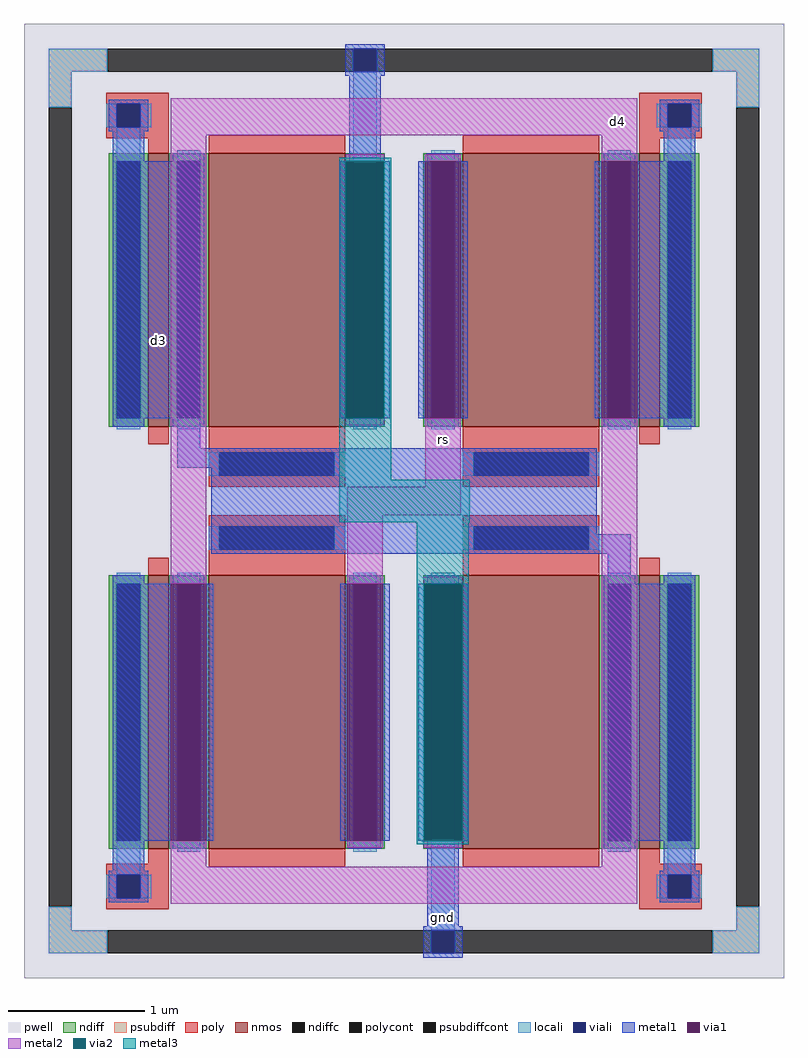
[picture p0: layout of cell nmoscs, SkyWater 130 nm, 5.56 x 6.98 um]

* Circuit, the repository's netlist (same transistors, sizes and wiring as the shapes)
** sch_path: /home/jevon/opamp/mag/nmoscs.sch
.subckt nmoscs D3 D4 RS GND
*.PININFO D3:B D4:B RS:B GND:B
XM4 D4 D3 RS GND sky130_fd_pr__nfet_01v8 L=1 W=2 nf=1 m=2
XM3 D3 D3 GND GND sky130_fd_pr__nfet_01v8 L=1 W=2 nf=1 m=2
XM1 D3 D3 D3 GND sky130_fd_pr__nfet_01v8 L=0.15 W=2 nf=1 m=2
XM2 D4 D4 D4 GND sky130_fd_pr__nfet_01v8 L=0.15 W=2 nf=1 m=2
.ends
.end

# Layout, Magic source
magic
tech sky130A
magscale 1 2
<< pwell >>
rect -212 -719 900 677
<< psubdiff >>
rect -176 607 -90 641
rect 796 607 864 641
rect -176 555 -142 607
rect 830 555 864 607
rect -176 -649 -142 -615
rect 830 -649 864 -615
rect -176 -683 -90 -649
rect 796 -683 864 -649
<< psubdiffcont >>
rect -90 607 796 641
rect -176 -615 -142 555
rect 830 -615 864 555
rect -90 -683 796 -649
<< poly >>
rect -92 560 0 576
rect -92 526 -76 560
rect -42 526 0 560
rect -92 510 0 526
rect -30 488 0 510
rect 688 560 780 576
rect 688 526 730 560
rect 764 526 780 560
rect 688 510 780 526
rect 688 488 718 510
rect -30 -552 0 -530
rect -92 -568 0 -552
rect -92 -602 -76 -568
rect -42 -602 0 -568
rect -92 -618 0 -602
rect 688 -568 780 -552
rect 688 -602 730 -568
rect 764 -602 780 -568
rect 688 -618 780 -602
<< polycont >>
rect -76 526 -42 560
rect 730 526 764 560
rect -76 -602 -42 -568
rect 730 -602 764 -568
<< locali >>
rect -176 607 -90 641
rect 796 607 864 641
rect -176 555 -142 607
rect -92 526 -76 560
rect -42 526 -26 560
rect -76 488 -42 526
rect 270 487 304 607
rect 714 526 730 560
rect 764 526 780 560
rect 830 555 864 607
rect 730 488 764 526
rect -76 -568 -42 -530
rect -92 -602 -76 -568
rect -42 -602 -26 -568
rect -176 -649 -142 -615
rect 384 -649 418 -530
rect 730 -568 764 -533
rect 714 -602 730 -568
rect 764 -602 780 -568
rect 830 -649 864 -615
rect -176 -683 -90 -649
rect 796 -683 864 -649
<< viali >>
rect 270 607 304 641
rect -76 526 -42 560
rect 730 526 764 560
rect -76 -602 -42 -568
rect 730 -602 764 -568
rect 384 -683 418 -649
<< metal1 >>
rect 258 641 316 647
rect 258 607 270 641
rect 304 607 316 641
rect 258 601 316 607
rect -88 560 -30 566
rect -88 526 -76 560
rect -42 526 -30 560
rect -88 520 -30 526
rect -82 488 -36 520
rect 264 482 310 601
rect 718 560 776 566
rect 718 526 730 560
rect 764 526 776 560
rect 718 520 776 526
rect 724 488 770 520
rect -76 100 46 476
rect 251 100 261 476
rect 313 100 323 476
rect 365 100 375 476
rect 427 100 437 476
rect 623 100 633 476
rect 685 100 764 476
rect 12 56 46 88
rect 12 28 626 56
rect 62 -70 626 28
rect 62 -98 676 -70
rect 642 -130 676 -98
rect -76 -518 3 -142
rect 55 -518 65 -142
rect 251 -518 261 -142
rect 313 -518 323 -142
rect 365 -518 375 -142
rect 427 -518 437 -142
rect 642 -518 764 -142
rect -82 -562 -36 -530
rect -88 -568 -30 -562
rect -88 -602 -76 -568
rect -42 -602 -30 -568
rect -88 -608 -30 -602
rect 378 -643 424 -525
rect 724 -562 770 -527
rect 718 -568 776 -562
rect 718 -602 730 -568
rect 764 -602 776 -568
rect 718 -608 776 -602
rect 372 -649 430 -643
rect 372 -683 384 -649
rect 418 -683 430 -649
rect 372 -689 430 -683
<< via1 >>
rect 261 100 313 476
rect 375 100 427 476
rect 633 100 685 476
rect 3 -518 55 -142
rect 261 -518 313 -142
rect 375 -518 427 -142
<< metal2 >>
rect 3 514 685 568
rect 3 -142 55 514
rect 259 476 315 486
rect 259 90 315 100
rect 375 476 427 486
rect 375 0 427 100
rect 3 -556 55 -518
rect 261 -42 427 0
rect 633 476 685 514
rect 261 -142 313 -42
rect 261 -528 313 -518
rect 373 -142 429 -132
rect 373 -528 429 -518
rect 633 -556 685 100
rect 3 -610 685 -556
<< via2 >>
rect 259 100 261 476
rect 261 100 313 476
rect 313 100 315 476
rect 373 -518 375 -142
rect 375 -518 427 -142
rect 427 -518 429 -142
<< metal3 >>
rect 249 476 325 481
rect 249 100 259 476
rect 315 100 325 476
rect 249 10 325 100
rect 249 -52 440 10
rect 363 -142 439 -52
rect 363 -518 373 -142
rect 429 -518 439 -142
rect 363 -523 439 -518
use sky130_fd_pr__nfet_01v8_27FZYL  sky130_fd_pr__nfet_01v8_27FZYL_0
transform 1 0 344 0 1 257
box -344 -257 344 257
use sky130_fd_pr__nfet_01v8_Q6296P  sky130_fd_pr__nfet_01v8_Q6296P_0
transform 1 0 344 0 1 -299
box -344 -257 344 257
use sky130_fd_pr__nfet_01v8_TC9PLT  sky130_fd_pr__nfet_01v8_TC9PLT_0
transform 1 0 703 0 1 288
box -73 -226 73 226
use sky130_fd_pr__nfet_01v8_TC9PLT  sky130_fd_pr__nfet_01v8_TC9PLT_1
transform 1 0 -15 0 1 288
box -73 -226 73 226
use sky130_fd_pr__nfet_01v8_TC9PLT  sky130_fd_pr__nfet_01v8_TC9PLT_2
transform 1 0 -15 0 1 -330
box -73 -226 73 226
use sky130_fd_pr__nfet_01v8_TC9PLT  sky130_fd_pr__nfet_01v8_TC9PLT_3
transform 1 0 703 0 1 -330
box -73 -226 73 226
<< labels >>
flabel metal1 400 -630 401 -630 0 FreeSans 480 0 0 0 gnd
port 0 nsew
flabel metal1 -15 214 -15 214 0 FreeSans 480 0 0 0 d3
port 1 nsew
flabel metal2 402 69 402 69 0 FreeSans 480 0 0 0 rs
port 2 nsew
flabel metal2 657 534 657 534 0 FreeSans 480 0 0 0 d4
port 3 nsew
<< end >>

# cell sky130_fd_pr__nfet_01v8_27FZYL: kit device sky130_fd_pr__nfet_01v8, w 2 l 1 m 1 nf 2 diffcov 100 polycov 100 guard 0 glc 1 grc 1 gtc 1 gbc 1 tbcov 100 rlcov 100 topc 0 botc 1 poverlap 0 doverlap 0 lmin 0.15 wmin 0.42 compatible {sky130_fd_pr__nfet_01v8 sky130_fd_pr__nfet_01v8_lvt sky130_fd_bs_flash__special_sonosfet_star sky130_fd_pr__nfet_g5v0d10v5 sky130_fd_pr__nfet_05v0_nvt sky130_fd_pr__nfet_03v3_nvt} full_metal 1 viasrc 100 viadrn 100 viagate 100 viagb 0 viagr 0 viagl 0 viagt 0

# cell sky130_fd_pr__nfet_01v8_Q6296P: kit device sky130_fd_pr__nfet_01v8, w 2 l 1 m 1 nf 2 diffcov 100 polycov 100 guard 0 glc 1 grc 1 gtc 1 gbc 1 tbcov 100 rlcov 100 topc 1 botc 0 poverlap 0 doverlap 0 lmin 0.15 wmin 0.42 compatible {sky130_fd_pr__nfet_01v8 sky130_fd_pr__nfet_01v8_lvt sky130_fd_bs_flash__special_sonosfet_star sky130_fd_pr__nfet_g5v0d10v5 sky130_fd_pr__nfet_05v0_nvt sky130_fd_pr__nfet_03v3_nvt} full_metal 1 viasrc 100 viadrn 100 viagate 100 viagb 0 viagr 0 viagl 0 viagt 0

# cell sky130_fd_pr__nfet_01v8_TC9PLT: kit device sky130_fd_pr__nfet_01v8, w 2 l 0.150 m 1 nf 1 diffcov 100 polycov 100 guard 0 glc 1 grc 1 gtc 1 gbc 1 tbcov 100 rlcov 100 topc 0 botc 0 poverlap 0 doverlap 1 lmin 0.15 wmin 0.42 compatible {sky130_fd_pr__nfet_01v8 sky130_fd_pr__nfet_01v8_lvt sky130_fd_bs_flash__special_sonosfet_star sky130_fd_pr__nfet_g5v0d10v5 sky130_fd_pr__nfet_05v0_nvt sky130_fd_pr__nfet_03v3_nvt} full_metal 1 viasrc 100 viadrn 100 viagate 100 viagb 0 viagr 0 viagl 0 viagt 0
